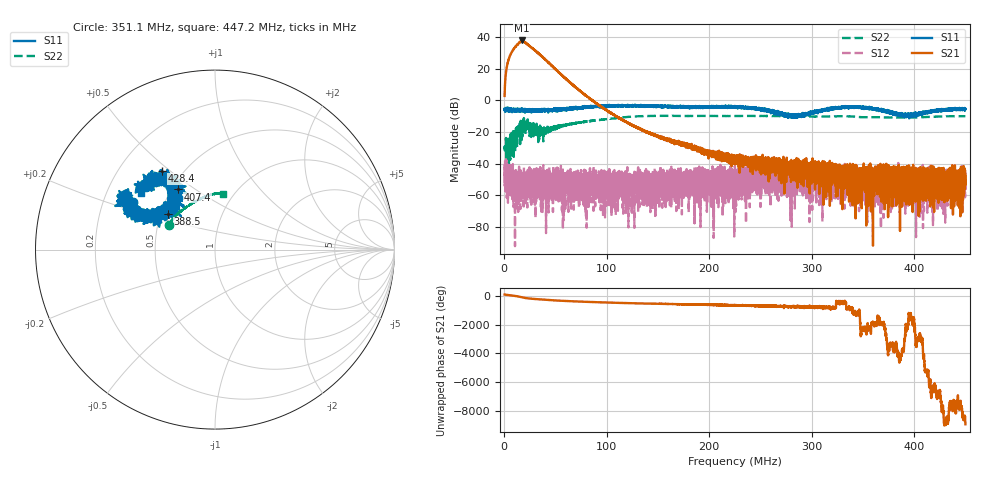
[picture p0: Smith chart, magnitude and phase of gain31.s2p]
# Hz S DB R 50
! CMT, M5065, 19127446, 24.2.4/2
! Date: 12/3/2024 4:28:18 PM
! Data: Format (Calibration Info)
! Freq	S11:dB/Ang(F2)	S21:dB/Ang(F2)	S12:dB/Ang(F2)	S22:dB/Ang(F2)
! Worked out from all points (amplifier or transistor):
!   9000 points, 300 kHz to 450 MHz, reference 50 ohm
!   highest |S21| = 37.7 dB at 17.19 MHz (marker M1)
!   |S21| within 3 dB of that: 12.24 MHz to 23.64 MHz (11.4 MHz wide, 63.6 % of centre)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
!   unconditionally stable (mu >= 1): start of sweep to 14.44 MHz; 14.44 MHz to end of sweep
!   at 75.26 MHz: K = 47.05, MAG = 7.4 dB, |S12| = -49.1 dB
!   at 225.2 MHz: K = 6332.48, MAG = -37.3 dB, |S12| = -47.3 dB
!   at 450 MHz: K = 56217.11, MAG = -46.0 dB, |S12| = -56.9 dB
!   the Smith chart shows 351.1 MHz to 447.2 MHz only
!   S11 on the Smith chart (normalised r, x): 351.1 MHz: 0.33, +0.24; 388.5 MHz: 0.55, +0.24; 407.4 MHz: 0.54, +0.43; 428.4 MHz: 0.39, +0.47; 447.2 MHz: 0.35, +0.30
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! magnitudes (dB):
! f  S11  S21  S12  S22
! 300 kHz  -5.4  2.7  -42.1  -29.9
! 3.098 MHz  -6.6  23.1  -48.1  -29.2
! 5.597 MHz  -5.9  28.1  -44.9  -24.1
! 17.19 MHz  -6.6  37.7  -53.6  -14.9
! 35.88 MHz  -7.0  28.2  -46.8  -17.3
! 75.26 MHz  -4.2  5.1  -49.1  -13.9
! 111.5 MHz  -3.5  -10.9  -61.2  -11.1
! 150.2 MHz  -3.6  -22.6  -45.5  -9.9
! 225.2 MHz  -4.2  -39.8  -47.3  -10.0
! 261.2 MHz  -6.5  -39.3  -41.4  -10.0
! 283.8 MHz  -9.0  -47.0  -45.7  -10.2
! 300.1 MHz  -8.0  -45.4  -58.0  -10.3
! 335.7 MHz  -4.7  -49.6  -48.4  -10.2
! 344.2 MHz  -4.3  -50.9  -58.1  -10.5
! 351.1 MHz  -5.6  -44.2  -46.5  -10.8
! 375.1 MHz  -7.1  -41.8  -49.0  -10.8
! 379.6 MHz  -8.2  -46.4  -56.1  -10.8
! 388.5 MHz  -9.7  -54.6  -45.7  -10.9
! 407.4 MHz  -8.1  -43.5  -51.0  -10.7
! 428.4 MHz  -5.5  -51.5  -50.8  -10.2
! 447.2 MHz  -5.7  -53.3  -45.7  -10.1
! 450 MHz  -5.6  -47.9  -56.9  -10.1
